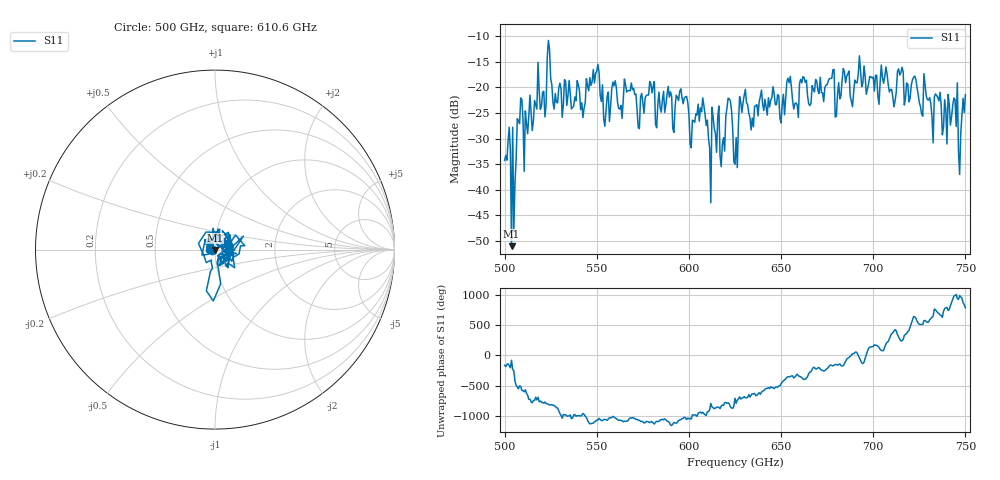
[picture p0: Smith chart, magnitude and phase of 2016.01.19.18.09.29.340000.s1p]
!Created with skrf (http://scikit-rf.org).
# GHz S RI R 50.0
!freq ReS11 ImS11
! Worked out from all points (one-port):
!   401 points, 500 GHz to 750 GHz, reference 50 ohm
!   lowest |S11| = -51.0 dB at 503.8 GHz (marker M1), VSWR 1.01, Z = 50 - j0.28 ohm
!   |S11| at or under -10 dB: start of sweep to end of sweep
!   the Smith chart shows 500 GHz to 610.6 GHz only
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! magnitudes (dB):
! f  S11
! 500 GHz  -34.3
! 503.8 GHz  -51.0
! 505 GHz  -48.0
! 508.1 GHz  -27.1
! 511.2 GHz  -24.6
! 521.2 GHz  -20.8
! 524.4 GHz  -12.6
! 527.5 GHz  -21.2
! 531.2 GHz  -25.9
! 542.5 GHz  -25.9
! 549.4 GHz  -17.3
! 553.8 GHz  -26.2
! 559.4 GHz  -19.7
! 562.5 GHz  -24.3
! 593.8 GHz  -21.9
! 618.1 GHz  -31.1
! 621.9 GHz  -22.2
! 625 GHz  -35.0
! 629.4 GHz  -22.9
! 633.8 GHz  -28.3
! 656.2 GHz  -22.6
! 687.5 GHz  -21.7
! 715 GHz  -17.2
! 718.8 GHz  -19.4
! 738.8 GHz  -22.4
! 744.4 GHz  -22.4
! 747.5 GHz  -28.8
! 750 GHz  -21.5
